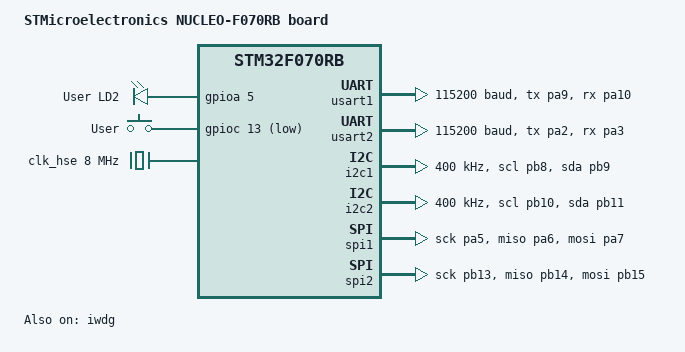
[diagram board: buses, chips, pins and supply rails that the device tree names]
/*
 * Copyright (c) 2018 qianfan Zhao
 *
 * SPDX-License-Identifier: Apache-2.0
 */

/dts-v1/;
#include <st/f0/stm32f070Xb.dtsi>
#include <st/f0/stm32f070rbtx-pinctrl.dtsi>
#include "arduino_r3_connector.dtsi"

/ {
	model = "STMicroelectronics NUCLEO-F070RB board";
	compatible = "st,stm32f070rb-nucleo";

	chosen {
		zephyr,console = &usart2;
		zephyr,shell-uart = &usart2;
		zephyr,sram = &sram0;
		zephyr,flash = &flash0;
	};

	leds {
		compatible = "gpio-leds";
		green_led_2: led_2 {
			gpios = <&gpioa 5 GPIO_ACTIVE_HIGH>;
			label = "User LD2";
		};
	};

	gpio_keys {
		compatible = "gpio-keys";
		user_button: button {
			label = "User";
			gpios = <&gpioc 13 GPIO_ACTIVE_LOW>;
		};
	};

	aliases {
		led0 = &green_led_2;
		sw0 = &user_button;
		watchdog0 = &iwdg;
	};
};

&clk_hse {
	hse-bypass;
	clock-frequency = <DT_FREQ_M(8)>; /* STLink 8MHz clock */
	status = "okay";
};

&pll {
	clocks = <&clk_hse>;
	prediv = <1>;
	mul = <6>;
	status = "okay";
};

&rcc {
	clocks = <&pll>;
	clock-frequency = <DT_FREQ_M(48)>;
	ahb-prescaler = <1>;
	apb1-prescaler = <2>;
};

&usart1 {
	pinctrl-0 = <&usart1_tx_pa9 &usart1_rx_pa10>;
	pinctrl-names = "default";
	current-speed = <115200>;
	status = "okay";
};

&usart2 {
	pinctrl-0 = <&usart2_tx_pa2 &usart2_rx_pa3>;
	pinctrl-names = "default";
	current-speed = <115200>;
	status = "okay";
};

&i2c1 {
	pinctrl-0 = <&i2c1_scl_pb8 &i2c1_sda_pb9>;
	pinctrl-names = "default";
	status = "okay";
	clock-frequency = <I2C_BITRATE_FAST>;
};

&i2c2 {
	pinctrl-0 = <&i2c2_scl_pb10 &i2c2_sda_pb11>;
	pinctrl-names = "default";
	status = "okay";
	clock-frequency = <I2C_BITRATE_FAST>;
};

&spi1 {
	pinctrl-0 = <&spi1_sck_pa5 &spi1_miso_pa6 &spi1_mosi_pa7>;
	pinctrl-names = "default";
	cs-gpios = <&gpiob 6 (GPIO_ACTIVE_LOW | GPIO_PULL_UP)>;
	status = "okay";
};

&spi2 {
	pinctrl-0 = <&spi2_sck_pb13 &spi2_miso_pb14 &spi2_mosi_pb15>;
	pinctrl-names = "default";
	status = "okay";
};

&iwdg {
	status = "okay";
};
